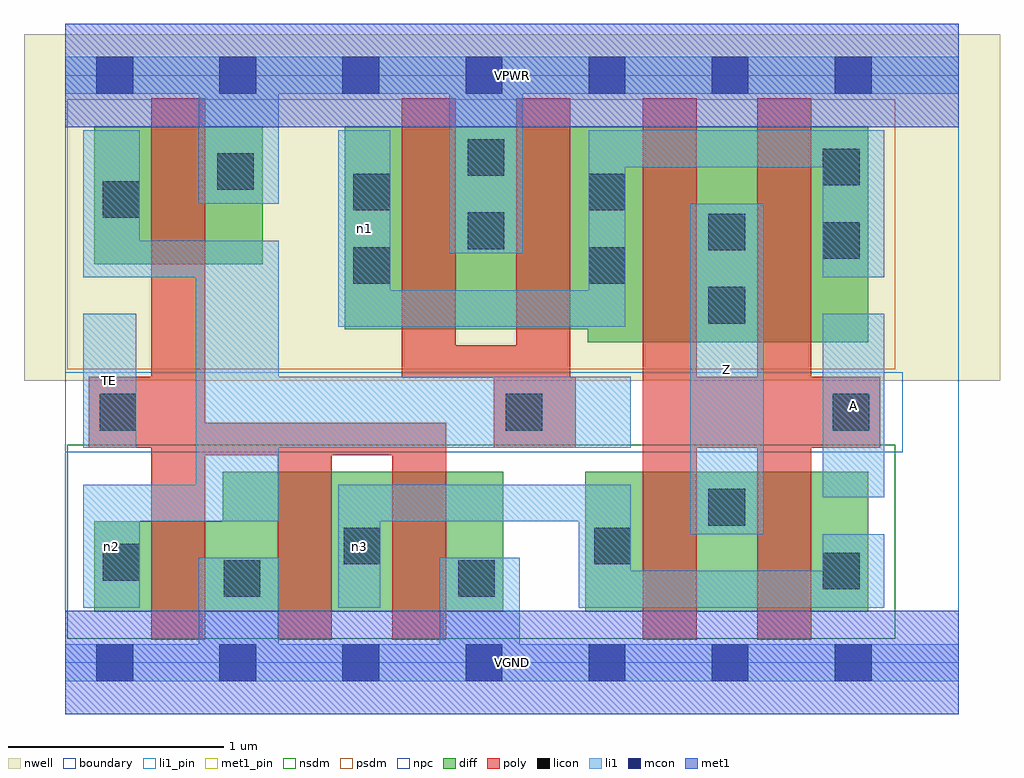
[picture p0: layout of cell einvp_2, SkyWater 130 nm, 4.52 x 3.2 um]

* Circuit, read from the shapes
.subckt einvp_2 A TE VGND VPWR Z n1 n2 n3
XM1 VGND TE n2 VSUBS sky130_fd_pr__nfet_01v8 w=0.42 l=0.25
XM2 n3 TE VGND VSUBS sky130_fd_pr__nfet_01v8 w=0.65 l=0.25 m=2
XM3 Z A n3 VSUBS sky130_fd_pr__nfet_01v8 w=0.65 l=0.25 m=2
XM4 VPWR TE n2 n4 sky130_fd_pr__pfet_01v8 w=0.64 l=0.25
XM5 VPWR n2 n1 n4 sky130_fd_pr__pfet_01v8 w=0.94 l=0.25 m=2
XM6 Z A n1 n4 sky130_fd_pr__pfet_01v8 w=1 l=0.25 m=2
.ends

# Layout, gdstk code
import gdstk
lib = gdstk.Library(unit=1e-6, precision=1e-09)
def R(c, l, rs):  # rectangles x0, y0, x1, y1
    for r in rs: c.add(gdstk.rectangle(r[:2], r[2:], *l))
def A(c, l, x, y, w, h, nx, ny, dx, dy):  # array of equal rectangles
    R(c, l, [(x+i*dx, y+j*dy, x+i*dx+w, y+j*dy+h) for i in range(nx) for j in range(ny)])
nwell = (64, 20)
diff = (65, 20)
poly = (66, 20)
licon = (66, 44)
li1_pin = (67, 16)
li1 = (67, 20)
mcon = (67, 44)
met1_pin = (68, 16)
met1 = (68, 20)
nsdm = (93, 44)
psdm = (94, 20)
npc = (95, 20)
boundary = (235, 4)

einvp_2 = lib.new_cell('einvp_2')
R(einvp_2, nwell, [(-0.19,1.305,4.33,2.91), (0,1.305,4.14,2.91)])
R(einvp_2, diff, [(0.135,0.235,2.03,0.655), (0.73,0.235,2.03,0.885), (2.41,0.235,3.72,0.885), (2.42,1.485,3.72,2.485), (1.295,1.545,3.72,2.485), (0.135,1.845,0.915,2.485)])
R(einvp_2, poly, [(0.4,0.105,0.65,2.615), (0.985,0.105,1.235,1.11), (1.515,0.105,1.765,1.11), (2.675,0.105,2.925,2.615), (3.205,0.105,3.455,2.615), (0.4,0.96,1.765,1.11), (0.11,0.995,0.65,1.325), (1.985,0.995,2.34,1.47), (1.985,0.995,2.365,1.325), (2.09,0.995,2.34,2.615), (2.675,0.995,3.775,1.325), (1.56,1.32,1.81,2.615), (1.56,1.32,2.34,1.47)])
R(einvp_2, licon, [(0.735,0.305,0.905,0.475), (1.82,0.305,1.99,0.475), (3.51,0.34,3.68,0.51), (0.175,0.38,0.345,0.55), (1.29,0.455,1.46,0.625), (2.45,0.455,2.62,0.625), (2.98,0.635,3.15,0.805), (0.16,1.075,0.33,1.245), (2.04,1.075,2.21,1.245), (3.555,1.075,3.725,1.245), (2.98,1.57,3.15,1.74), (1.335,1.755,1.505,1.925), (2.425,1.755,2.595,1.925), (3.51,1.87,3.68,2.04), (2.98,1.91,3.15,2.08), (1.865,1.915,2.035,2.085), (0.175,2.06,0.345,2.23), (1.335,2.095,1.505,2.265), (2.425,2.095,2.595,2.265), (0.705,2.19,0.875,2.36), (3.51,2.21,3.68,2.38), (1.865,2.255,2.035,2.425)])
R(einvp_2, li1_pin, [(2.895,0.595,3.235,2.125), (3.51,0.765,3.795,1.615), (0.085,0.995,0.33,1.615)])
R(einvp_2, li1, [(0,-0.085,4.14,0.085), (0.62,-0.085,0.99,0.485), (1.735,-0.085,2.105,0.485), (0.085,0.255,0.345,0.825), (1.265,0.255,1.46,0.825), (2.38,0.255,3.795,0.425), (2.38,0.255,2.62,0.825), (3.51,0.255,3.795,0.595), (2.895,0.595,3.235,2.125), (0.085,0.655,0.99,0.825), (0.605,0.655,0.99,1.955), (1.265,0.655,2.62,0.825), (3.51,0.765,3.795,1.615), (0.085,0.995,0.33,1.615), (0.605,0.995,2.62,1.325), (1.265,1.555,1.505,2.465), (1.265,1.555,2.595,1.725), (2.425,1.555,2.595,2.465), (0.085,1.785,0.99,1.955), (0.085,1.785,0.345,2.465), (3.51,1.785,3.795,2.465), (1.78,1.895,2.12,2.805), (0.62,2.125,0.99,2.805), (2.425,2.295,3.795,2.465), (0,2.635,4.14,2.805)])
A(einvp_2, mcon, 0.145, -0.085, 0.17, 0.17, 7, 2, 0.57, 2.72)
R(einvp_2, met1_pin, [(0,-0.24,4.14,0.24), (0,2.48,4.14,2.96)])
R(einvp_2, met1, [(0,-0.24,4.14,0.24), (0,2.48,4.14,2.96)])
R(einvp_2, nsdm, [(0.01,0.11,3.845,1.01)])
R(einvp_2, psdm, [(0.01,1.36,3.845,2.61)])
R(einvp_2, npc, [(0,0.975,3.88,1.345)])
R(einvp_2, boundary, [(0,0,4.14,2.72)])
einvp_2.add(gdstk.Label('A', (3.652,1.19), layer=67, texttype=5))
einvp_2.add(gdstk.Label('TE', (0.207,1.305), layer=67, texttype=5))
einvp_2.add(gdstk.Label('Z', (3.065,1.36), layer=67, texttype=5))
einvp_2.add(gdstk.Label('n3', (1.362,0.54), layer=67, texttype=5))
einvp_2.add(gdstk.Label('n2', (0.215,0.54), layer=67, texttype=5))
einvp_2.add(gdstk.Label('n1', (1.385,2.01), layer=67, texttype=5))
einvp_2.add(gdstk.Label('VPWR', (2.07,2.72), layer=68, texttype=5))
einvp_2.add(gdstk.Label('VGND', (2.07,0), layer=68, texttype=5))
einvp_2.add(gdstk.Label('A', (3.652,1.19), layer=67, texttype=16))
einvp_2.add(gdstk.Label('TE', (0.207,1.305), layer=67, texttype=16))
einvp_2.add(gdstk.Label('Z', (3.065,1.36), layer=67, texttype=16))
einvp_2.add(gdstk.Label('VPWR', (2.07,2.72), layer=68, texttype=16))
einvp_2.add(gdstk.Label('VGND', (2.07,0), layer=68, texttype=16))

lib.write_gds('einvp_2.gds')
